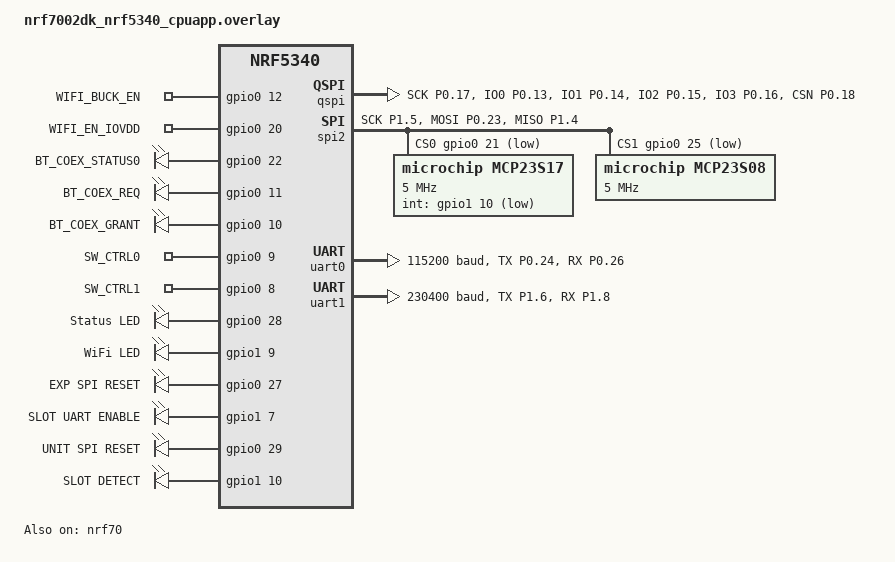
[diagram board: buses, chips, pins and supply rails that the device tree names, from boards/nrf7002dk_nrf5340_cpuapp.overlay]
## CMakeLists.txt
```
# SPDX-License-Identifier: Apache-2.0

cmake_minimum_required(VERSION 3.20.0)

find_package(Zephyr REQUIRED HINTS $ENV{ZEPHYR_BASE})
project(wifi_station)
    target_sources(app PRIVATE
        src/main.c
        src/wifi_power.c
        src/wifi_connect.c
        src/station_gpio.c
        src/station_sdcard.c
        src/https_api.c        
        src/slot_uart.c
    )
set(gen_dir ${CMAKE_CURRENT_BINARY_DIR}/certs)
zephyr_include_directories(${gen_dir})
generate_inc_file_for_target(
    app
    cert/StgNewsedTechiot.pem
    ${gen_dir}/StgNewsedTechiot.pem.inc
    )
target_include_directories(app PRIVATE
    src/
)
```

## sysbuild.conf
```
# sysbuild configuration for nRF7002dk WiFi support
# Based on Nordic's official documentation and samples
SB_CONFIG_WIFI_NRF70=y

# Disable bootloader to prevent duplicate boot messages
SB_CONFIG_BOOTLOADER_MCUBOOT=n
```

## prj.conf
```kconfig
#
# Copyright (c) 2022 Nordic Semiconductor ASA
#
# SPDX-License-Identifier: LicenseRef-Nordic-5-Clause
#
CONFIG_WIFI=y
CONFIG_WIFI_NRF70=y



CONFIG_USE_SEGGER_RTT=n
# Enable both RTT and UART for debugging
CONFIG_RTT_CONSOLE=n
CONFIG_UART_CONSOLE=y
CONFIG_LOG_BACKEND_RTT=n
CONFIG_LOG_BACKEND_UART=n
CONFIG_LOG_BACKEND_SHOW_COLOR=n
CONFIG_CONSOLE=y
CONFIG_SERIAL=y


# WPA supplicant
CONFIG_WIFI_NM_WPA_SUPPLICANT=y
CONFIG_NET_L2_WIFI_SHELL=y
CONFIG_WIFI_READY_LIB=y
CONFIG_NRF_WIFI_RPU_RECOVERY=y
# Networking
CONFIG_NETWORKING=y
CONFIG_NET_SOCKETS=y
CONFIG_NET_LOG=y
CONFIG_NET_IPV6=y
CONFIG_NET_IPV4=y
CONFIG_NET_UDP=y
CONFIG_NET_TCP=y
CONFIG_NET_DHCPV4=y
CONFIG_DNS_RESOLVER=y

CONFIG_NET_STATISTICS=y
CONFIG_NET_STATISTICS_WIFI=y
CONFIG_NET_STATISTICS_USER_API=y

CONFIG_NET_PKT_RX_COUNT=8
CONFIG_NET_PKT_TX_COUNT=8

# Below section is the primary contributor to SRAM and is currently
# tuned for performance, but this will be revisited in the future.
CONFIG_NET_BUF_RX_COUNT=16
CONFIG_NET_BUF_TX_COUNT=16
CONFIG_NRF70_RX_NUM_BUFS=16
CONFIG_NRF70_MAX_TX_AGGREGATION=4
CONFIG_NET_TC_TX_COUNT=1

CONFIG_NET_IF_UNICAST_IPV6_ADDR_COUNT=4
CONFIG_NET_IF_MCAST_IPV6_ADDR_COUNT=5
CONFIG_NET_MAX_CONTEXTS=5
CONFIG_NET_CONTEXT_SYNC_RECV=y

CONFIG_INIT_STACKS=y

CONFIG_NET_L2_ETHERNET=y
CONFIG_NET_SHELL=y

# Zephyr NET Connection Manager Connectivity layer.
CONFIG_NET_CONNECTION_MANAGER=y
CONFIG_L2_WIFI_CONNECTIVITY=y
CONFIG_L2_WIFI_CONNECTIVITY_AUTO_CONNECT=y
CONFIG_L2_WIFI_CONNECTIVITY_AUTO_DOWN=n

# Memories - Increased for WiFi stability at 128MHz
CONFIG_HEAP_MEM_POOL_SIZE=74000
CONFIG_HEAP_MEM_POOL_IGNORE_MIN=y
CONFIG_NRF_WIFI_CTRL_HEAP_SIZE=20000
CONFIG_NRF_WIFI_DATA_HEAP_SIZE=40000

CONFIG_MAIN_STACK_SIZE=8192
CONFIG_SHELL_STACK_SIZE=8192

CONFIG_NET_TX_STACK_SIZE=16384
CONFIG_NET_RX_STACK_SIZE=16384
CONFIG_NET_CONNECTION_MANAGER_MONITOR_STACK_SIZE=8192

# Debugging
CONFIG_STACK_SENTINEL=y
CONFIG_DEBUG_COREDUMP=y
CONFIG_DEBUG_COREDUMP_BACKEND_LOGGING=y
CONFIG_DEBUG_COREDUMP_MEMORY_DUMP_MIN=y
CONFIG_SHELL_CMDS_RESIZE=n
#CONFIG_DEBUG=y
CONFIG_WIFI_NM_WPA_SUPPLICANT_LOG_LEVEL_INF=y

# WiFi driver logging - Set to WRN to reduce log spam

CONFIG_WIFI_NRF70_LOG_LEVEL_WRN=y

# Kernel options
CONFIG_ENTROPY_GENERATOR=y
CONFIG_REBOOT=y
CONFIG_LOG_MODE_DEFERRED=y

# Logging
CONFIG_LOG=y
# 一時y
CONFIG_PRINTK=y
CONFIG_PRINTK_BUFFER_SIZE=4096
CONFIG_LOG_MODE_IMMEDIATE=y 
CONFIG_SHELL=y
CONFIG_SHELL_GETOPT=y
CONFIG_DEVICE_SHELL=y
CONFIG_POSIX_TIMERS=y
CONFIG_DATE_SHELL=y
CONFIG_NET_CONFIG_AUTO_INIT=n
CONFIG_POSIX_API=y
CONFIG_NET_CONFIG_SETTINGS=n
CONFIG_WIFI_CREDENTIALS=y
CONFIG_FLASH=y
CONFIG_FLASH_PAGE_LAYOUT=y
CONFIG_FLASH_MAP=y
CONFIG_NVS=y
CONFIG_SETTINGS=y
CONFIG_SETTINGS_NVS=y
CONFIG_SPI=y
# Mira Station has no external QSPI flash memory
CONFIG_SPI_NOR=n
CONFIG_NRFX_QSPI=y
# QSPI power management - Disable to ensure stable communication with nRF7002 at 128MHz
CONFIG_PM_DEVICE=n
CONFIG_PM_DEVICE_RUNTIME=n

# printing of scan results puts pressure on queues in new locking
# design in net_mgmt. So, use a higher timeout for a crowded
# environment.
CONFIG_NET_MGMT_EVENT_QUEUE_TIMEOUT=5000
CONFIG_NET_SOCKETS_POLL_MAX=12
CONFIG_NET_MGMT_EVENT_QUEUE_SIZE=16
CONFIG_NET_MGMT_EVENT_STACK_SIZE=4096
CONFIG_WIFI_LOG_LEVEL_DBG=y

#CONFIG_WPA_SUPP_STACK_SIZE=8192
CONFIG_SYSTEM_WORKQUEUE_STACK_SIZE=4096
CONFIG_NET_L2_WIFI_MGMT_LOG_LEVEL_DBG=y
CONFIG_BT=n
CONFIG_NRF_TRACE_PORT=n
CONFIG_TRACING=n

# TLS/SSL 関連の設定
CONFIG_NET_SOCKETS_SOCKOPT_TLS=y
CONFIG_MBEDTLS=y
CONFIG_MBEDTLS_BUILTIN=y
CONFIG_MBEDTLS_ENABLE_HEAP=y
CONFIG_MBEDTLS_HEAP_SIZE=60000
CONFIG_MBEDTLS_SSL_MAX_CONTENT_LEN=16384

# 暗号スイートの有効化 (Postman-echo 等のモダンなサーバーに必要)
CONFIG_MBEDTLS_CIPHER_AES_ENABLED=y
CONFIG_MBEDTLS_CHACHAPOLY_C=y
CONFIG_MBEDTLS_RSA_C=y
CONFIG_MBEDTLS_SHA256_C=y
CONFIG_MBEDTLS_PEM_PARSE_C=y

# もしECDSAの証明書なら以下も必要
CONFIG_MBEDTLS_ECDSA_C=y
CONFIG_MBEDTLS_ECP_C=y
CONFIG_MBEDTLS_ECP_DP_SECP256R1_ENABLED=y
CONFIG_MBEDTLS_X509_CRT_PARSE_C=y
CONFIG_MBEDTLS_X509_USE_C=y
CONFIG_MBEDTLS_ECDH_C=y

#CONFIG_GPIO_MCP23S08=y
```

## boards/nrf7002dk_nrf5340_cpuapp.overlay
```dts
/ {
	/* Force UART console for debug output */
	chosen {
		zephyr,console = &uart0;
		zephyr,shell-uart = &uart0;
		zephyr,uart-mcumgr = &uart0;
	};
	
	/* Trace (TPIU) を止めて TRACEDATA/TRACECLK を解放 */



	/* nRF70 TX power configuration for WiFi */
	nrf70_tx_power_ceiling: nrf70_tx_power_ceiling_node {
		status = "okay";
		compatible = "nordic,nrf700x-tx-power-ceiling";
		max-pwr-2g-dsss = <21>;
		max-pwr-2g-mcs0 = <21>;
		max-pwr-2g-mcs7 = <21>;
		max-pwr-5g-low-mcs0 = <21>;
		max-pwr-5g-low-mcs7 = <21>;
		max-pwr-5g-mid-mcs0 = <21>;
		max-pwr-5g-mid-mcs7 = <21>;
		max-pwr-5g-high-mcs0 = <21>;
		max-pwr-5g-high-mcs7 = <21>;
	};
};
/ {
    wifi_ctrl: gpio-leds {
        compatible = "gpio-leds";

        wifi_buck_en: wifi_buck_en {
            gpios = <&gpio0 12 GPIO_ACTIVE_HIGH>;
            label = "WIFI_BUCK_EN";
        };

        wifi_en: wifi_en {
            gpios = <&gpio0 20 GPIO_ACTIVE_HIGH>;
            label = "WIFI_EN_IOVDD";
        };
    };
};


/ {
    user_gpio: user-gpio {
        compatible = "gpio-leds";

        coex_status0: coex_status0 {
            gpios = <&gpio0 22 GPIO_ACTIVE_HIGH>;
            label = "BT_COEX_STATUS0";
        };
		
        coex_req: coex_req {
            gpios = <&gpio0 11 GPIO_ACTIVE_HIGH>;
            label = "BT_COEX_REQ";
        };

        coex_grant: coex_grant {
            gpios = <&gpio0 10 GPIO_ACTIVE_HIGH>;
            label = "BT_COEX_GRANT";
        };

        sw_ctrl0: sw_ctrl0 {
            gpios = <&gpio0 9 GPIO_ACTIVE_HIGH>;
            label = "SW_CTRL0";
        };

        sw_ctrl1: sw_ctrl1 {
            gpios = <&gpio0 8 GPIO_ACTIVE_HIGH>;
            label = "SW_CTRL1";
        };

		
		led_a: led_a {
			gpios = <&gpio0 28 GPIO_ACTIVE_HIGH>;
			label = "Status LED";
		};

		led_b: led_b {
			gpios = <&gpio1 9 GPIO_ACTIVE_HIGH>;
			label = "WiFi LED";
		};
		exp_spi_reset: exp_spi_reset {
			gpios = <&gpio0 27 GPIO_ACTIVE_HIGH>;
			label = "EXP SPI RESET";
		};
		slot_uart_enable: slot_uart_enable {
			gpios = <&gpio1 7 GPIO_ACTIVE_HIGH>;
			label = "SLOT UART ENABLE";
		};
		unit_spi_reset: unit_spi_reset {
			gpios = <&gpio0 29 GPIO_ACTIVE_HIGH>;
			label = "UNIT SPI RESET";
		};

		slot_detect: slot_detect {
			gpios = <&gpio1 10 GPIO_ACTIVE_HIGH>; // Mira StationではLOWアクティブ
			// gpios = <&gpio1 10 GPIO_ACTIVE_LOW>;
			label = "SLOT DETECT";
		};



    };
};


/* WM02C COEX configuration - Override nRF7002DK default with Mira Station pins */

&pinctrl {
	/* 自分で使うGPIO用の定義 */

	qspi_default: qspi_default {
		group1 {
			psels = <NRF_PSEL(QSPI_SCK, 0, 17)>,
				<NRF_PSEL(QSPI_IO0, 0, 13)>,
				<NRF_PSEL(QSPI_IO1, 0, 14)>,
				<NRF_PSEL(QSPI_IO2, 0, 15)>,
				<NRF_PSEL(QSPI_IO3, 0, 16)>,
				<NRF_PSEL(QSPI_CSN, 0, 18)>;
			nordic,drive-mode = <NRF_DRIVE_H0H1>;
		};
	};

	qspi_sleep: qspi_sleep {
		group1 {
			psels = <NRF_PSEL(QSPI_SCK, 0, 17)>,
				<NRF_PSEL(QSPI_IO0, 0, 13)>,
				<NRF_PSEL(QSPI_IO1, 0, 14)>,
				<NRF_PSEL(QSPI_IO2, 0, 15)>,
				<NRF_PSEL(QSPI_IO3, 0, 16)>;
			low-power-enable;
		};
		group2 {
			psels = <NRF_PSEL(QSPI_CSN, 0, 18)>;
			low-power-enable;
			bias-pull-up;
		};
	};

	spi2_default: spi2_default {
        group1 {
            psels = <NRF_PSEL(SPIM_SCK, 1, 5)>,
                    <NRF_PSEL(SPIM_MOSI, 0, 23)>,
                    <NRF_PSEL(SPIM_MISO, 1, 4)>;
        };
    };

    spi2_sleep: spi2_sleep {
        group1 {
            psels = <NRF_PSEL(SPIM_SCK, 1, 5)>,
                    <NRF_PSEL(SPIM_MOSI, 0, 23)>,
                    <NRF_PSEL(SPIM_MISO, 1, 4)>;
            low-power-enable;
        };
    };
	
};

&nrf70 {
    status = "okay";
    //bucken-gpios = <&gpio0 12 GPIO_ACTIVE_HIGH>;
    //iovdd-ctrl-gpios = <&gpio0 20 GPIO_ACTIVE_HIGH>;
    host-irq-gpios = <&gpio0 19 GPIO_ACTIVE_HIGH>; // まずは元に戻す 
	qspi-frequency = <8000000>;
	
};

&qspi {
	status = "okay";
	pinctrl-0 = <&qspi_default>;
	pinctrl-1 = <&qspi_sleep>;
	pinctrl-names = "default", "sleep";	
};

&spi2 {
    status = "okay";
    pinctrl-0 = <&spi2_default>;
    pinctrl-1 = <&spi2_sleep>;
    pinctrl-names = "default", "sleep";

	cs-gpios =
        <&gpio0 21 GPIO_ACTIVE_LOW>, /* CS0: MCP23S17 */
        <&gpio0 25 GPIO_ACTIVE_LOW>; /* CS1: MCP23S08 */



    /* MCP23S17 : 16bit GPIO */
    mcp23s17: gpio@0 {
        compatible = "microchip,mcp23s17";
        reg = <0>;                  /* cs-gpios の0番 */
        spi-max-frequency = <5000000>;
        status = "okay";

        gpio-controller;
        #gpio-cells = <2>;
        ngpios = <16>;
        
        /* 割り込みピン設定 */
        int-gpios = <&gpio1 10 GPIO_ACTIVE_LOW>;
    };

    /* MCP23S08 : 8bit GPIO */
    mcp23s08: gpio@1 {
        compatible = "microchip,mcp23s08";
        reg = <1>;                  /* cs-gpios の1番 */
        spi-max-frequency = <5000000>;
        status = "okay";

        gpio-controller;
        #gpio-cells = <2>;
        ngpios = <8>;
    
    };
};


/* Mira Station UART0 configuration - Custom pins P0.24/P0.26 */
&pinctrl {
	uart0_mira_default: uart0_mira_default {
		group1 {
			psels = <NRF_PSEL(UART_TX, 0, 24)>,
				<NRF_PSEL(UART_RX, 0, 26)>;
		};
	};

	uart0_mira_sleep: uart0_mira_sleep {
		group1 {
			psels = <NRF_PSEL(UART_TX, 0, 24)>,
				<NRF_PSEL(UART_RX, 0, 26)>;
			low-power-enable;
		};
	};
};

&uart0 {
	status = "okay";
	current-speed = <115200>;
	/* Use Mira Station specific pinctrl */
	pinctrl-0 = <&uart0_mira_default>;
	pinctrl-1 = <&uart0_mira_sleep>;
	pinctrl-names = "default", "sleep";
};

/*  Station UART1 configuration - Custom pins P1.06/P1.08 */
&pinctrl {
	uart1_slot_default: uart1_slot_default {
		group1 {
			psels = <NRF_PSEL(UART_TX, 1, 6)>,
				<NRF_PSEL(UART_RX, 1, 8)>;
		};
	};

	uart1_slot_sleep: uart1_slot_sleep {
		group1 {
			psels = <NRF_PSEL(UART_TX, 1, 6)>,
				<NRF_PSEL(UART_RX, 1, 8)>;
			low-power-enable;
		};
	};
};

&uart1 {
	status = "okay";
	current-speed = <230400>;
	/* Use Mira Station specific pinctrl */
	pinctrl-0 = <&uart1_slot_default>;
	pinctrl-1 = <&uart1_slot_sleep>;
	pinctrl-names = "default", "sleep";
};
&gpio0 {
    status = "okay";
};
```

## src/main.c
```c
#include "wifi_connect.h"
#include "common.h"
#include "station_gpio.h"
#include "station_sdcard.h"
#include "slot_uart.h"
#include <zephyr/logging/log.h>
LOG_MODULE_REGISTER(sta, CONFIG_LOG_DEFAULT_LEVEL);




sd_data_t sd_data;
sys_data_t sys_data;

K_THREAD_DEFINE(uart_tid, 1024,slot_uart_thread,NULL, NULL, NULL,5, 0, 0);

/**
 * @brief アプリケーションのエントリーポイント
 *
 * システム起動後に最初に呼ばれる関数。
 * 本関数では、ステーション動作に必要な各種初期化処理のみを行う。
 *
 * 処理内容:
 *  1. GPIO 初期化
 *     - LED / 制御ピンなど、ボード依存GPIOの設定を行う
 *
 *  2. SDカード初期化
 *     - 設定データやログ保存に使用するSDカードを初期化する
 *     - 初期化結果は common.h で定義された sd_data 構造体に反映される
 *
 *  3. Wi-Fi 初期化
 *     - Wi-Fi ドライバおよびネットワークスタックを初期化し、
 *       アクセスポイントへの接続処理を開始する
 *
 * 本関数ではメインループやタスク生成は行わず、
 * 各機能の初期化後は処理を終了する。
 *
 * @return int
 *         常に 0 を返す（初期化エラーは各初期化関数内でログ出力される想定）
 */

int main(void)
{
    int ret = 0;

    init_gpio();

    init_sd_card();

    init_wifi();
    
    //uart test デバイス名称取得 start
    while(1){
        slot_puts("DEVICENAME\r");
         k_msleep(5000);      
    }
     //uart test デバイス名称取得 end
    return ret;
}
```

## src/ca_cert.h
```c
#pragma once

static const char ca_cert_isrg_root_x1[] =
"-----BEGIN CERTIFICATE-----\n"
"MIIEVjCCAj6gAwIBAgIQY5WTY8JOcIJxWRi/w9ftVjANBgkqhkiG9w0BAQsFADBP\n"
"MQswCQYDVQQGEwJVUzEpMCcGA1UEChMgSW50ZXJuZXQgU2VjdXJpdHkgUmVzZWFy\n"
"Y2ggR3JvdXAxFTATBgNVBAMTDElTUkcgUm9vdCBYMTAeFw0yNDAzMTMwMDAwMDBa\n"
"Fw0yNzAzMTIyMzU5NTlaMDIxCzAJBgNVBAYTAlVTMRYwFAYDVQQKEw1MZXQncyBF\n"
"bmNyeXB0MQswCQYDVQQDEwJFODB2MBAGByqGSM49AgEGBSuBBAAiA2IABNFl8l7c\n"
"S7QMApzSsvru6WyrOq44ofTUOTIzxULUzDMMNMchIJBwXOhiLxxxs0LXeb5GDcHb\n"
"R6EToMffgSZjO9SNHfY9gjMy9vQr5/WWOrQTZxh7az6NSNnq3u2ubT6HTKOB+DCB\n"
"9TAOBgNVHQ8BAf8EBAMCAYYwHQYDVR0lBBYwFAYIKwYBBQUHAwIGCCsGAQUFBwMB\n"
"MBIGA1UdEwEB/wQIMAYBAf8CAQAwHQYDVR0OBBYEFI8NE6L2Ln7RUGwzGDhdWY4j\n"
"cpHKMB8GA1UdIwQYMBaAFHm0WeZ7tuXkAXOACIjIGlj26ZtuMDIGCCsGAQUFBwEB\n"
"BCYwJDAiBggrBgEFBQcwAoYWaHR0cDovL3gxLmkubGVuY3Iub3JnLzATBgNVHSAE\n"
"DDAKMAgGBmeBDAECATAnBgNVHR8EIDAeMBygGqAYhhZodHRwOi8veDEuYy5sZW5j\n"
"ci5vcmcvMA0GCSqGSIb3DQEBCwUAA4ICAQBnE0hGINKsCYWi0Xx1ygxD5qihEjZ0\n"
"RI3tTZz1wuATH3ZwYPIp97kWEayanD1j0cDhIYzy4CkDo2jB8D5t0a6zZWzlr98d\n"
"AQFNh8uKJkIHdLShy+nUyeZxc5bNeMp1Lu0gSzE4McqfmNMvIpeiwWSYO9w82Ob8\n"
"otvXcO2JUYi3svHIWRm3+707DUbL51XMcY2iZdlCq4Wa9nbuk3WTU4gr6LY8MzVA\n"
"aDQG2+4U3eJ6qUF10bBnR1uuVyDYs9RhrwucRVnfuDj29CMLTsplM5f5wSV5hUpm\n"
"Uwp/vV7M4w4aGunt74koX71n4EdagCsL/Yk5+mAQU0+tue0JOfAV/R6t1k+Xk9s2\n"
"HMQFeoxppfzAVC04FdG9M+AC2JWxmFSt6BCuh3CEey3fE52Qrj9YM75rtvIjsm/1\n"
"Hl+u//Wqxnu1ZQ4jpa+VpuZiGOlWrqSP9eogdOhCGisnyewWJwRQOqK16wiGyZeR\n"
"xs/Bekw65vwSIaVkBruPiTfMOo0Zh4gVa8/qJgMbJbyrwwG97z/PRgmLKCDl8z3d\n"
"tA0Z7qq7fta0Gl24uyuB05dqI5J1LvAzKuWdIjT1tP8qCoxSE/xpix8hX2dt3h+/\n"
"jujUgFPFZ0EVZ0xSyBNRF3MboGZnYXFUxpNjTWPKpagDHJQmqrAcDmWJnMsFY3jS\n"
"u1igv3OefnWjSQ==\n"
"-----END CERTIFICATE-----\n";
```

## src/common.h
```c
#include <stdint.h> 
#include <stdio.h>
typedef struct {
    char mcm_iot_hostname[256]; //APIホストサーバー
    char endpoint_url[5][64]; //エンドポイントURL
    char mcm_login_id[128];
    char mcm_login_passwd[128];
    char wifi_ssid[64];
    char wifi_passwd[128];
    uint8_t wifi_authentication; //WiFi認証方式
} sd_data_t;

typedef struct {
    char token[512]; //トークン   
} sys_data_t;



#define     HIGT            1
#define     LOW             0
#define     MCP23S08_GP0    0
#define     MCP23S08_GP1    1
#define     MCP23S08_GP2    2
#define     HTTPS_PORT      "443"
#define     CA_CERT_TAG     1

#define SLOT_IN_0   (1 << 0)
#define SLOT_IN_1   (1 << 1)
#define SLOT_IN_2   (1 << 2)
#define SLOT_IN_3   (1 << 3)
#define SLOT_IN_4   (1 << 4)
#define SLOT_IN_5   (1 << 5)
#define SLOT_IN_6   (1 << 6)
#define SLOT_IN_7   (1 << 7)
```

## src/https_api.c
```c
#include <zephyr/sys/printk.h>
#include <string.h>
#include <zephyr/net/socket.h>
#include <zephyr/net/tls_credentials.h>
#include "common.h"
#include <zephyr/logging/log.h>
LOG_MODULE_REGISTER(https_api, LOG_LEVEL_INF);

extern sd_data_t sd_data;
extern sys_data_t sys_data;


static const char cert[] = {
#include "StgNewsedTechiot.pem.inc"

	/* Null terminate certificate if running Mbed TLS on the application core.
	 * Required by TLS credentials API.
	 */
	IF_ENABLED(CONFIG_TLS_CREDENTIALS, (0x00))};

/**
 * @brief アクセストークンを取得するための関数（未実装）
 *
 * IoT サーバやクラウド API へアクセスするための
 * アクセストークン（OAuth 等）を取得する処理を想定。
 *
 * 現在は未実装で、将来的に HTTPS 経由で
 * トークン取得 API を呼び出す想定。
 */
void get_access_token(void)
{
	strcpy(sys_data.token, "eyJhbGciOiJIUzI1NiJ9.eyJpc3MiOiJodHRwczovL2FwaS5zdGctbmV3c2VkdGVjaC1pb3Qub25taXJhLmNsb3VkLyIsInN1YiI6ImFjY2VzcyIsImF1ZCI6InN0Zl9VV2Y5OFhFSWd1YVNMOCIsImp0aSI6IjI0NTk2YjRlLWM0ZGUtNGZlZi04NzU0LTE5ODIzYzQ0OGFkNyIsImlhdCI6MTczNDMzNTM5NH0.D22HW9P4Hsvjdy7oMgcxFi3215R89Q4fkVxfJt4ERko");
}

/**
 * @brief CA 証明書を Zephyr TLS Credential ストアへ登録する
 *
 * DigiCertGlobalG3.pem.inc から取り込んだ CA 証明書を
 * tls_credential_add() を使って TLS スタックへ登録する。
 *
 * HTTPS 通信を行う前に必ず一度は呼び出す必要がある。
 *
 * @return 0       成功
 * @return <0      エラー（TLS Credential 登録失敗）
 */
int cert_provision(void)
{
	return tls_credential_add(
		CA_CERT_TAG,
		TLS_CREDENTIAL_CA_CERTIFICATE,
		cert,
		sizeof(cert));
}
/**
 * @brief HTTPS (TLS) 経由で JSON データを POST 送信する
 *
 * - CA 証明書を登録
 * - DNS 名前解決
 * - TLS ソケット作成（TLS1.2）
 * - SNI / CA 証明書を設定
 * - HTTPS サーバへ接続
 * - JSON データを HTTP POST で送信
 * - レスポンスを受信してログ出力
 *
 * sd_data に設定されたホスト名・エンドポイントを使用する。
 *
 * @return 0       成功
 * @return <0      エラー
 */
int https_post_json(void)
{
	printk(".....https_post_json......\n");
	cert_provision();

	int sock = -1;
	int ret;

	struct addrinfo hints = {
		.ai_family = AF_INET,
		.ai_socktype = SOCK_STREAM,
	};
	struct addrinfo *res = NULL;

	/* HTTPSは443番 */
	ret = getaddrinfo(sd_data.mcm_iot_hostname, HTTPS_PORT, &hints, &res);
	if (ret || res == NULL)
	{
		printk("getaddrinfo failed: %d\n", ret);
		return ret ? ret : -EINVAL;
	}

	/* TCPソケット */
	sock = socket(res->ai_family, SOCK_STREAM, IPPROTO_TLS_1_2);
	if (sock < 0)
	{
		printk("socket failed: %d\n", -errno);
		freeaddrinfo(res);
		return -errno;
	}
	/* ★CA証明書タグをソケットに設定（必須） */
	sec_tag_t sec_tag_list[] = {CA_CERT_TAG};
	ret = setsockopt(sock, SOL_TLS, TLS_SEC_TAG_LIST,
					 sec_tag_list, sizeof(sec_tag_list));
	if (ret < 0)
	{
		printk("TLS_SEC_TAG_LIST failed: %d\n", -errno);
		if (res)
			freeaddrinfo(res);
		if (sock >= 0)
			close(sock);
		printk("### done ret=%d ###\n", ret);
		return ret;
	}
	/* ★SNI/証明書検証用 hostname（必須級） */
	ret = setsockopt(sock, SOL_TLS, TLS_HOSTNAME, sd_data.mcm_iot_hostname, sizeof(sd_data.mcm_iot_hostname) - 1);
	if (ret < 0)
	{
		printk("TLS_HOSTNAME failed: %d\n", -errno);
		if (res)
			freeaddrinfo(res);
		if (sock >= 0)
			close(sock);
		printk("### done ret=%d ###\n", ret);
		return ret;
	}

	/* connect */
	ret = connect(sock, res->ai_addr, res->ai_addrlen);
	freeaddrinfo(res);
	res = NULL;

	if (ret < 0)
	{
		printk("connect failed: %d\n", -errno);
		close(sock);
		return -errno;
	}

	/*
	curl https://api.stg-newsedtech-iot.onmira.cloud/temperatures/ \
  --request POST \
  --header 'Content-Type: application/json' \
  --header 'Authorization: Bearer eyJhbGciOiJIUzI1NiJ9.eyJpc3MiOiJodHRwczovL2FwaS5zdGctbmV3c2VkdGVjaC1pb3Qub25taXJhLmNsb3VkLyIsInN1YiI6ImFjY2VzcyIsImF1ZCI6InN0Zl9VV2Y5OFhFSWd1YVNMOCIsImp0aSI6IjI0NTk2YjRlLWM0ZGUtNGZlZi04NzU0LTE5ODIzYzQ0OGFkNyIsImlhdCI6MTczNDMzNTM5NH0.D22HW9P4Hsvjdy7oMgcxFi3215R89Q4fkVxfJt4ERko' \
  --data '{
  "sensor_id": "ssr_V6lVcrtQQnXE2P",
  "event": "high",
  "time": 1767007422,
  "temperature": 60.5,
  "threshold": 60.3
}'


	*/

	const char json[] = "{\"sensor_id\":\"ssr_V6lVcrtQQnXE2P\",\"event\":\"high\",\"time\":1767007422,\"temperature\":60.5,\"threshold\":60.3}";

	char req[1024];

	int req_len = snprintf(req, sizeof(req),
						   "POST %s HTTP/1.1\r\n"
						   "Host: %s\r\n"
						   "User-Agent: zephyr\r\n"
						   "Authorization: Bearer %s\r\n"
						   "Content-Type: application/json\r\n"
						   "Content-Length: %d\r\n"
						   "Connection: close\r\n"
						   "\r\n"
						   "%s",
						   sd_data.endpoint_url[0],
						   sd_data.mcm_iot_hostname,
						   sys_data.token,
						   (int)strlen(json), json);
			

	if (req_len <= 0 || req_len >= (int)sizeof(req))
	{
		printk("snprintf overflow\n");
		close(sock);
		return -ENOMEM;
	}

	
	ssize_t sent = send(sock, req, req_len, 0);
	if (sent < 0)
	{
		int e = errno;
		printk("send() failed: %d\n", -e);
		close(sock);
		return -e;
	}
	char buf[1024];
	int len;

	while ((len = recv(sock, buf, sizeof(buf) - 1, 0)) > 0)
	{
		buf[len] = '\0';
		printk("%s", buf);
	}

	if (len < 0)
	{
		printk("recv() failed: %d\n", -errno);
	}

	close(sock);
	printk("### done ###\n");
	return 0;
}
/**
 * @brief HTTP（非TLS）で JSON データを POST 送信する
 *
 * TLS を使用しない平文 HTTP 通信のサンプル。
 * postman-echo.com に対して JSON を POST し、
 * レスポンスをログへ表示する。
 *
 * 動作確認やデバッグ用途向け。
 *
 * @return 0       成功
 * @return <0      エラー
 */
int http_post_json(void)
{
	printk("### http_post_json ###\n");

	int sock = -1;
	int ret;

	struct addrinfo hints = {
		.ai_family = AF_INET,
		.ai_socktype = SOCK_STREAM,
	};
	struct addrinfo *res = NULL;

	/* HTTPは80番 */
	ret = getaddrinfo("postman-echo.com", "80", &hints, &res);
	if (ret || res == NULL)
	{
		printk("getaddrinfo failed: %d\n", ret);
		return ret ? ret : -EINVAL;
	}

	/* TCPソケット */
	sock = socket(res->ai_family, SOCK_STREAM, IPPROTO_TCP);
	if (sock < 0)
	{
		printk("socket failed: %d\n", -errno);
		freeaddrinfo(res);
		return -errno;
	}

	/* connect */
	ret = connect(sock, res->ai_addr, res->ai_addrlen);
	freeaddrinfo(res);
	res = NULL;

	if (ret < 0)
	{
		printk("connect failed: %d\n", -errno);
		close(sock);
		return -errno;
	}

	const char json[] = "{\"device\":\"nrf5340\",\"value\":123}";

	char req[512];
	int req_len = snprintf(req, sizeof(req),
						   "POST /post HTTP/1.1\r\n"
						   "Host: postman-echo.com\r\n"
						   "User-Agent: zephyr\r\n"
						   "Content-Type: application/json\r\n"
						   "Content-Length: %d\r\n"
						   "Connection: close\r\n"
						   "\r\n"
						   "%s",
						   (int)strlen(json), json);

	if (req_len <= 0 || req_len >= (int)sizeof(req))
	{
		printk("snprintf overflow\n");
		close(sock);
		return -ENOMEM;
	}

	printk("### send ###\n");
	ssize_t sent = send(sock, req, req_len, 0);
	if (sent < 0)
	{
		int e = errno;
		printk("send() failed: %d\n", -e);
		close(sock);
		return -e;
	}
	printk("sent=%d\n", (int)sent);

	printk("### recv ###\n");
	char buf[1024];
	int len;

	while ((len = recv(sock, buf, sizeof(buf) - 1, 0)) > 0)
	{
		buf[len] = '\0';
		printk("%s", buf);
	}

	if (len < 0)
	{
		printk("recv() failed: %d\n", -errno);
	}

	close(sock);
	printk("### done ###\n");
	return 0;
}
```

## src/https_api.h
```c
/*
 * WiFi  Header for Mira Station
 */

#ifndef HTTPS_API_H
#define HTTPS_API_H


void send_post_request(int sock);
int https_post_json(void);
int http_post_json(void);
void get_access_token(void);
#endif
```

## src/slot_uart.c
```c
#include <zephyr/kernel.h>
#include <zephyr/device.h>
#include <zephyr/drivers/uart.h>
#include <zephyr/sys/ring_buffer.h>
#include <zephyr/sys/util.h>

#define RX_RING_SIZE 512
#define LINE_MAX     128

static const struct device *uart_slot = DEVICE_DT_GET(DT_NODELABEL(uart1));

RING_BUF_DECLARE(rx_ring, RX_RING_SIZE);
K_SEM_DEFINE(rx_sem, 0, 1);

void slot_puts(const char *s)
{
    while (*s) {
        uart_poll_out(uart_slot, (unsigned char)*s++);
    }
}

/* UART IRQ: 受信したbyteをring bufferへ */
static void uart1_cb(const struct device *dev, void *user_data)
{
    ARG_UNUSED(user_data);

    while (uart_irq_update(dev) && uart_irq_is_pending(dev)) {
        if (uart_irq_rx_ready(dev)) {
            uint8_t tmp[32];
            int n = uart_fifo_read(dev, tmp, sizeof(tmp));
            if (n > 0) {
                /* ringに詰める（溢れた分は捨てる） */
                uint32_t wrote = ring_buf_put(&rx_ring, tmp, (uint32_t)n);
                (void)wrote;
                k_sem_give(&rx_sem);
            }
        }
    }
}

/* 監視スレッド：ringから取り出して、行単位で表示 */
void slot_uart_thread(void)
{
    if (!device_is_ready(uart_slot)) {
        printk("*** uart1 not ready ***\n");
        return;
    }

    uart_irq_callback_user_data_set(uart_slot, uart1_cb, NULL);
    uart_irq_rx_enable(uart_slot);

    printk("*** uart1 monitor start ***\n");

    char line[LINE_MAX];
    int  line_len = 0;

    while (1) {
        /* 受信が来るまで待つ（常時監視） */
        k_sem_take(&rx_sem, K_FOREVER);

        /* ringに溜まってる分を全部吐き出す */
        uint8_t c;
        while (ring_buf_get(&rx_ring, &c, 1) == 1) {

            /* CR/LFで1行確定 */
            if (c == '\r' || c == '\n') {
                if (line_len > 0) {
                    line[line_len] = '\0';
                    printk("SLOT RX: %s\n", line);
                    line_len = 0;
                }
                continue;
            }

            /* 行バッファに追加（溢れたら強制確定） */
            if (line_len < (LINE_MAX - 1)) {
                line[line_len++] = (char)c;
            } else {
                line[line_len] = '\0';
                printk("UART1 RX (trunc): %s\n", line);
                line_len = 0;
            }
        }
    }
}
```

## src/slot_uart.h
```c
#ifndef SLOT_UART_H
#define SLOT_UART_H

void slot_uart_thread(void);
void slot_puts(const char *s);
#endif
```

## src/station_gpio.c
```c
#include <zephyr/drivers/gpio.h>
#include "station_gpio.h"
#include "common.h"
#include <zephyr/logging/log.h>
LOG_MODULE_REGISTER(station_gpio, LOG_LEVEL_INF);

const struct gpio_dt_spec coex_status0 =
    GPIO_DT_SPEC_GET(DT_NODELABEL(coex_status0), gpios);

const struct gpio_dt_spec coex_req =
    GPIO_DT_SPEC_GET(DT_NODELABEL(coex_req), gpios);

const struct gpio_dt_spec coex_grant =
    GPIO_DT_SPEC_GET(DT_NODELABEL(coex_grant), gpios);

const struct gpio_dt_spec sw_ctrl0 =
    GPIO_DT_SPEC_GET(DT_NODELABEL(sw_ctrl0), gpios);

const struct gpio_dt_spec sw_ctrl1 =
    GPIO_DT_SPEC_GET(DT_NODELABEL(sw_ctrl1), gpios);

const struct gpio_dt_spec led_a =
    GPIO_DT_SPEC_GET(DT_NODELABEL(led_a), gpios);
const struct gpio_dt_spec led_b =
    GPIO_DT_SPEC_GET(DT_NODELABEL(led_b), gpios);

const struct gpio_dt_spec exp_spi_reset =
    GPIO_DT_SPEC_GET(DT_NODELABEL(exp_spi_reset), gpios);

const struct gpio_dt_spec unit_spi_reset =
    GPIO_DT_SPEC_GET(DT_NODELABEL(unit_spi_reset), gpios);

const struct gpio_dt_spec slot_uart_enable =
    GPIO_DT_SPEC_GET(DT_NODELABEL(slot_uart_enable), gpios); // UART 通信有効・無効

const struct gpio_dt_spec slot_detect =
    GPIO_DT_SPEC_GET(DT_NODELABEL(slot_detect), gpios); // SLOT 挿入検出用

/* SPI接続GPIOエキスパンダ
 * - mcp17: スロット検出・電源制御（MCP23S17：16bit）
 * - mcp08: UART切替SEL制御（MCP23S08：8bit）
 */
const struct device *mcp17 = DEVICE_DT_GET(DT_NODELABEL(mcp23s17)); // slot 制御用
const struct device *mcp08 = DEVICE_DT_GET(DT_NODELABEL(mcp23s08)); // UART制御用

static struct gpio_callback mcp_cb;

/* 割り込み処理用のワーク（チャタリング対策で遅延実行） */
static struct k_work_delayable gpio_isr_work;

uint8_t slot_state = 0;

void print_u8_bin(uint8_t v);

void print_u8_bin(uint8_t v)
{
    printk("\n*** print_u8_bin ***\n");
    for (int i = 7; i >= 0; i--)
    {
        printk("%d", (v >> i) & 1);
    }
    printk("\n");
}

/**
 * @brief 割り込みハンドラから呼ばれるワーク関数
 *
 * 割り込みコンテキスト外でGPIOを読み取る
 */
static void gpio_isr_work_handler(struct k_work *work)
{
    printk("\n*** GPIO interrupt work handler ***\n");

    for (int in_pin = 0; in_pin < 8; in_pin++)
    {
        int v = gpio_pin_get(mcp17, in_pin); /* GPA0..7 */

        if (v < 0)
        {
            printk("mcp17 read error pin%d: %d\n", in_pin, v);
            continue;
        }
        if (v == LOW)
        {
            printk("Insert the card into slot %d\n", in_pin);
            gpio_pin_set(mcp17, in_pin + 8, HIGT); // カード充電電源ON
            set_enable_slot_uart(in_pin);
            slot_state |= (1U << in_pin);
        }
        else
        {
            printk("No card in slot %d\n", in_pin);
            gpio_pin_set(mcp17, in_pin + 8, LOW); // カード充電電源OFF
            slot_state &= ~(1U << in_pin);        // 0にする
        }
    }

    /* 処理完了後、MCP23S17の全ピン割り込みを再有効化 */
    for (int pin = 0; pin < 8; pin++)
    {
        gpio_pin_interrupt_configure(mcp17, pin, GPIO_INT_EDGE_BOTH);
    }
    if(slot_state==0x00){ //どのスロットにもカード刺してない場合、通信無効設定
        set_enable_slot_uart(0xff);
    }
    //print_u8_bin(slot_state);

    //printk("Interrupts re-enabled\n");
}

/**
 * @brief MCP23S17 のGPIO入力変化（スロット挿入検出）を処理する割り込みハンドラ
 *
 * MCP23S17 側の入力ピン（想定：GPA0～GPA7）が変化したときに呼ばれ、
 * 対応するスロットの電源制御出力（想定：GPB0～GPB7 = ピン8～15）をON/OFFします。
 *
 * - pins には「どのピンが割り込み要因か」を示すビットマスクが渡る想定です。
 *   ※Zephyrのgpioコールバック仕様では pins はビットマスクで来るため、
 *   本実装の pins==0/1/2... 判定は将来的に BIT(n) 判定へ変更推奨です。
 *
 * @param dev  割り込み元GPIOデバイス（未使用）
 * @param cb   登録したコールバック（未使用）
 * @param pins 変化したピンのビットマスク（例：BIT(0) がGPA0）
 */
void mcp23s17_isr(const struct device *dev,
                  struct gpio_callback *cb,
                  uint32_t pins)
{
    ARG_UNUSED(dev);
    ARG_UNUSED(cb);
    ARG_UNUSED(pins);

    /* チャタリング対策：変化したピンの割り込みを無効化 */
    for (int pin = 0; pin < 8; pin++)
    {
        if (pins & BIT(pin))
        {
            gpio_pin_interrupt_configure(dev, pin, GPIO_INT_DISABLE);
        }
    }

    /* 500ms後にワークを実行（割り込み再有効化含む） */
    k_work_reschedule(&gpio_isr_work, K_MSEC(500));
}
/**
 * @brief Station基板のGPIO初期化（SoC直結GPIO + MCP23S17/MCP23S08 の初期化）
 *
 * この関数は以下を行います：
 * 1) WM02C/COEX関連GPIOの方向設定（req/status0出力、grant入力）
 * 2) スイッチ入力（sw_ctrl0/sw_ctrl1）設定
 * 3) LED（led_a/led_b）を出力として初期化
 * 4) MCP23S17/MCP23S08のRESET（または有効化）信号を有効化し、通信可能になるまで待機
 * 5) MCP23S08：UART切替用SELピン（0～2）を出力に設定
 * 6) MCP23S17：スロット検出入力（0～7）を入力＋割り込み有効、電源制御出力（8～15）を出力に設定
 * 7) 初期状態として各種出力をOFF、必要に応じてテスト設定でON
 *
 * 注意：
 * - MCPの通信有効化後に待ち時間(k_msleep)を入れているのは、
 *   リセット解除直後の安定化およびSPIバス立ち上がりのためです。
 */
void init_gpio()
{
    printk("### init_gpio start ###\n");

    int ret;
    // WM02C モジュール
    gpio_pin_configure_dt(&coex_req, GPIO_OUTPUT_INACTIVE);
    gpio_pin_configure_dt(&coex_status0, GPIO_OUTPUT_INACTIVE);

    gpio_pin_configure_dt(&coex_grant, GPIO_INPUT);

    gpio_pin_configure_dt(&sw_ctrl0, GPIO_INPUT);

    gpio_pin_configure_dt(&sw_ctrl1, GPIO_INPUT);

    // LED 制御
    gpio_pin_configure_dt(&led_a, GPIO_OUTPUT_INACTIVE);
    gpio_pin_configure_dt(&led_b, GPIO_OUTPUT_INACTIVE);

    // SPI制御
    gpio_pin_configure_dt(&exp_spi_reset, GPIO_OUTPUT_INACTIVE);  // シリアル通信切り替え用
    gpio_pin_configure_dt(&unit_spi_reset, GPIO_OUTPUT_INACTIVE); // スロット検出・電源制御用

    // uart制御
    gpio_pin_configure_dt(&slot_uart_enable, GPIO_OUTPUT_INACTIVE);

    gpio_pin_set_dt(&exp_spi_reset, HIGT);  // uart 通信有効
    gpio_pin_set_dt(&unit_spi_reset, HIGT); // slot SPI通信有効
    k_msleep(1);                            // MCP23S08T通信有効後、待ち時間必須

    // MCP23S08T初期化(出力設定)
    gpio_pin_configure(mcp08, MCP23S08_GP0, GPIO_OUTPUT);
    gpio_pin_configure(mcp08, MCP23S08_GP1, GPIO_OUTPUT);
    gpio_pin_configure(mcp08, MCP23S08_GP2, GPIO_OUTPUT);

    // MCP23S17T初期化
    // スロット挿入検出(入力設定)

    printk("Configuring MCP23S17 pins and interrupts...\n");
    for (int pin = 0; pin < 8; pin++)
    {
        gpio_pin_configure(mcp17, pin, GPIO_INPUT | GPIO_PULL_UP);
        ret = gpio_pin_interrupt_configure(mcp17, pin, GPIO_INT_EDGE_BOTH);
        if (ret != 0)
        {
            printk("Failed to configure interrupt for pin %d: %d\n", pin, ret);
        }
    }

    /* MCP23S17のピンに直接コールバック登録（全ピン0-7） */
    gpio_init_callback(&mcp_cb, mcp23s17_isr, 0xFF); /* 下位8ビット全て */
    ret = gpio_add_callback(mcp17, &mcp_cb);
    if (ret != 0)
    {
        printk("Failed to add callback: %d\n", ret);
        return;
    }

    printk("MCP23S17 interrupt initialized on device %p\n", mcp17);

    // 初期状態確認
    printk("=== MCP23S17 GPA0-7 Initial Status ===\n");

    // 電源制御(出力設定)
    /* GPB0..7 を出力に（電源制御など） */
    for (int pin = 8; pin < 16; pin++)
    {
        gpio_pin_configure(mcp17, pin, GPIO_OUTPUT_INACTIVE);
        gpio_pin_set(mcp17, pin, LOW); // 全て電源出力OFF設定
    }

    for (int pin = 0; pin < 8; pin++)
    {
        int val = gpio_pin_get(mcp17, pin);
        printk("GPA%d: %d\n", pin, val);
        if (val == LOW)
        {
            slot_state |= (1U << pin);
            gpio_pin_set(mcp17, pin + 8, HIGT); // UART電源設定 ON
        }
        else
        {
            slot_state &= ~(1U << pin);        // 0にする
            gpio_pin_set(mcp17, pin + 8, LOW); // UART電源設定 OFF
        }
       
    }

    if (slot_state & SLOT_IN_0)
    {
        set_enable_slot_uart(0);
    }
    else if (slot_state & SLOT_IN_1)
    {
        set_enable_slot_uart(1);
    }
    else if (slot_state & SLOT_IN_2)
    {
        set_enable_slot_uart(2);
    }
    else if (slot_state & SLOT_IN_3)
    {
        set_enable_slot_uart(3);
    }
    else if (slot_state & SLOT_IN_4)
    {
        set_enable_slot_uart(4);
    }
    else if (slot_state & SLOT_IN_5)
    {
        set_enable_slot_uart(5);
    }
    else if (slot_state & SLOT_IN_6)
    {
        set_enable_slot_uart(6);
    }
    else if (slot_state & SLOT_IN_7)
    {
        set_enable_slot_uart(7);
    }else{ //どのスロットにもカード刺してない場合、通信無効設定
        set_enable_slot_uart(0xff);
    }

    //print_u8_bin(slot_state);

    gpio_pin_set_dt(&coex_req, LOW);
    gpio_pin_set_dt(&coex_status0, LOW);

    gpio_pin_set_dt(&led_a, LOW);
    gpio_pin_set_dt(&led_b, LOW);

  
    // 割り込み処理用ワークの初期化（遅延実行可能）
    k_work_init_delayable(&gpio_isr_work, gpio_isr_work_handler);
}
/**
 * @brief Status LED(A) を点灯する
 *
 * led_a を High にして点灯します（Active High前提）。
 */
void led_a_lights_up(void)
{
    gpio_pin_set_dt(&led_a, HIGT);
}
/**
 * @brief Status LED(A) を消灯する
 *
 * led_a を Low にして消灯します（Active High前提）。
 */
void led_a_lights_down(void)
{
    gpio_pin_set_dt(&led_a, LOW);
}
/**
 * @brief WiFi LED(B) を点灯する
 *
 * led_b を High にして点灯します（Active High前提）。
 */
void led_b_lights_up(void)
{
    gpio_pin_set_dt(&led_b, HIGT);
}
/**
 * @brief WiFi LED(B) を消灯する
 *
 * led_b を Low にして消灯します（Active High前提）。
 */
void led_b_lights_down(void)
{
    gpio_pin_set_dt(&led_b, LOW);
}

/**
 * @brief スロットUART通信の有効/無効と、UART切替スロット番号の設定
 *
 * MCP23S08 の 3本のSEL信号（SEL0/SEL1/SEL2）を設定して、
 * 0～7 のスロットを選択します。
 *
 * - slot: 0～7 で該当スロットを選択し UART を有効化します。
 * - slot: 0xFF の場合は UART を無効化します（全スロット切り離し）。
 *
 * 注意：
 * - slot_uart_enable は Active Low（0=有効、1=無効）という前提の実装です。
 *
 * @param slot スロット番号（0～7）、または 0xFF（UART無効）
 */
void set_enable_slot_uart(uint8_t slot)
{
    printk("set_enable_slot_uart: slot = %d\n", slot);
    if (slot == 0)
    {
        gpio_pin_set_dt(&slot_uart_enable, LOW); // UART通信有効
        gpio_pin_set(mcp08, MCP23S08_GP0, LOW);  // SEL0
        gpio_pin_set(mcp08, MCP23S08_GP1, LOW);  // SEL1
        gpio_pin_set(mcp08, MCP23S08_GP2, LOW);  // SEL2
    }
    else if (slot == 1)
    {
        gpio_pin_set_dt(&slot_uart_enable, LOW); // UART通信有効
        gpio_pin_set(mcp08, MCP23S08_GP0, HIGT); // SEL0
        gpio_pin_set(mcp08, MCP23S08_GP1, LOW);  // SEL1
        gpio_pin_set(mcp08, MCP23S08_GP2, LOW);  // SEL2
    }
    else if (slot == 2)
    {
        gpio_pin_set_dt(&slot_uart_enable, LOW); // UART通信有効
        gpio_pin_set(mcp08, MCP23S08_GP0, LOW);  // SEL0
        gpio_pin_set(mcp08, MCP23S08_GP1, HIGT); // SEL1
        gpio_pin_set(mcp08, MCP23S08_GP2, LOW);  // SEL2
    }
    else if (slot == 3)
    {
        gpio_pin_set_dt(&slot_uart_enable, LOW); // UART通信有効
        gpio_pin_set(mcp08, MCP23S08_GP0, HIGT); // SEL0
        gpio_pin_set(mcp08, MCP23S08_GP1, HIGT); // SEL1
        gpio_pin_set(mcp08, MCP23S08_GP2, LOW);  // SEL2
    }
    else if (slot == 4)
    {
        gpio_pin_set_dt(&slot_uart_enable, LOW); // UART通信有効
        gpio_pin_set(mcp08, MCP23S08_GP0, LOW);  // SEL0
        gpio_pin_set(mcp08, MCP23S08_GP1, LOW);  // SEL1
        gpio_pin_set(mcp08, MCP23S08_GP2, HIGT); // SEL2
    }
    else if (slot == 5)
    {
        gpio_pin_set_dt(&slot_uart_enable, LOW); // UART通信有効
        gpio_pin_set(mcp08, MCP23S08_GP0, HIGT); // SEL0
        gpio_pin_set(mcp08, MCP23S08_GP1, LOW);  // SEL1
        gpio_pin_set(mcp08, MCP23S08_GP2, HIGT); // SEL2
    }
    else if (slot == 6)
    {
        gpio_pin_set_dt(&slot_uart_enable, LOW); // UART通信有効
        gpio_pin_set(mcp08, MCP23S08_GP0, LOW);  // SEL0
        gpio_pin_set(mcp08, MCP23S08_GP1, HIGT); // SEL1
        gpio_pin_set(mcp08, MCP23S08_GP2, HIGT); // SEL2
    }
    else if (slot == 7)
    {
        gpio_pin_set_dt(&slot_uart_enable, LOW); // UART通信有効
        gpio_pin_set(mcp08, MCP23S08_GP0, HIGT); // SEL0
        gpio_pin_set(mcp08, MCP23S08_GP1, HIGT); // SEL1
        gpio_pin_set(mcp08, MCP23S08_GP2, HIGT); // SEL2
    }
    else if (slot == 0xff)
    {                                             // 全て無効
        gpio_pin_set_dt(&slot_uart_enable, HIGT); // UART通信無効
    }
}
```

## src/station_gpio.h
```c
#ifndef STATION_GPIO_H
#define STATION_GPIO_H


#include <zephyr/drivers/gpio.h>

void init_gpio();
void led_a_lights_up(void);
void led_a_lights_down(void);
void set_enable_slot_uart(uint8_t slot);
void mcp23s17_isr(const struct device *dev,
                  struct gpio_callback *cb,
                  uint32_t pins);

#endif /* STATION_GPIO_H */
```

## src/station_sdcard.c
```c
#include <string.h>
#include "station_sdcard.h"
#include <string.h>
#include "common.h"

extern sd_data_t sd_data;

void init_sd_card(void)
{
    snprintf(sd_data.wifi_ssid, sizeof(sd_data.wifi_ssid), "%s", "huihui");
    snprintf(sd_data.wifi_passwd, sizeof(sd_data.wifi_passwd), "%s", "61121288b9");
    snprintf(sd_data.mcm_iot_hostname, sizeof(sd_data.mcm_iot_hostname), "%s", "api.stg-newsedtech-iot.onmira.cloud");
    snprintf(sd_data.endpoint_url[0], sizeof(sd_data.endpoint_url[0]), "%s", "/temperatures"); //温度アップロード
    snprintf(sd_data.endpoint_url[1], sizeof(sd_data.endpoint_url[1]), "%s", "/impacts"); //衝撃ログアップロード
}
```

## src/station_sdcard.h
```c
#ifndef STATION_SDCARD_H
#define STATION_SDCARD_H

void init_sd_card(void);
#endif /* STATION_SDCARD_H */
```

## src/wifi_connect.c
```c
#include <zephyr/net/net_if.h>
#include <zephyr/net/wifi_mgmt.h>
#include <zephyr/net/net_event.h>
#include <zephyr/drivers/gpio.h>
#include <net/wifi_ready.h>
#include "wifi_connect.h"
#include "common.h"
#include "station_gpio.h"
#include "https_api.h"
#include <zephyr/logging/log.h>
LOG_MODULE_REGISTER(wifi_connect, LOG_LEVEL_INF);

#define WIFI_SHELL_MGMT_EVENTS (NET_EVENT_WIFI_CONNECT_RESULT | \
                                NET_EVENT_WIFI_DISCONNECT_RESULT)

#define STATUS_POLLING_MS 300

static struct net_mgmt_event_callback wifi_shell_mgmt_cb;
static struct net_mgmt_event_callback net_shell_mgmt_cb;

#ifdef CONFIG_WIFI_READY_LIB
static K_SEM_DEFINE(wifi_ready_state_changed_sem, 0, 1);
static bool wifi_ready_status;
#endif /* CONFIG_WIFI_READY_LIB */

static int register_wifi_ready(void);
static int cmd_wifi_status(void);
static void handle_wifi_connect_result(struct net_mgmt_event_callback *cb);
static void handle_wifi_disconnect_result(struct net_mgmt_event_callback *cb);
static void wifi_mgmt_event_handler(struct net_mgmt_event_callback *cb,
                                    uint64_t mgmt_event, struct net_if *iface);
static int wifi_connect(void);
void wifi_ready_cb(bool wifi_ready);
#define CONFIG_STA_SAMPLE_START_WIFI_THREAD_STACK_SIZE 5200
#ifdef CONFIG_WIFI_READY_LIB
void start_wifi_thread(void);
#define THREAD_PRIORITY K_PRIO_COOP(CONFIG_NUM_COOP_PRIORITIES - 1)
K_THREAD_DEFINE(start_wifi_thread_id, CONFIG_STA_SAMPLE_START_WIFI_THREAD_STACK_SIZE,
                start_wifi_thread, NULL, NULL, NULL,
                THREAD_PRIORITY, 0, -1);
static struct
{
    const struct shell *sh;
    union
    {
        struct
        {
            uint8_t connected : 1;
            uint8_t connect_result : 1;
            uint8_t disconnect_requested : 1;
            uint8_t _unused : 5;
        };
        uint8_t all;
    };
} context;

extern sd_data_t sd_data;

/* Wi-Fi 機能全体の初期化を行う。
 * ネットワーク管理コールバックを登録し、
 * Wi-Fi Ready ライブラリ有効時は待機スレッドを起動する。
 */
int init_wifi(void)
{
    int ret = 0;
    net_mgmt_callback_init();

#ifdef CONFIG_WIFI_READY_LIB
    ret = register_wifi_ready();
    if (ret)
    {
        return ret;
    }
    k_thread_start(start_wifi_thread_id);
#else
    start_app();
#endif /* CONFIG_WIFI_READY_LIB */
    return 0;
}

/* 現在の Wi-Fi 接続状態を取得し、
 * SSID・RSSI・セキュリティ情報などをログ出力する。
 */
static int cmd_wifi_status(void)
{
    struct net_if *iface = net_if_get_default();
    struct wifi_iface_status status = {0};

    if (net_mgmt(NET_REQUEST_WIFI_IFACE_STATUS, iface, &status,
                 sizeof(struct wifi_iface_status)))
    {
        LOG_INF("Status request failed");

        return -ENOEXEC;
    }

    LOG_INF("==================");
    LOG_INF("State: %s", wifi_state_txt(status.state));

    if (status.state >= WIFI_STATE_ASSOCIATED)
    {

        LOG_INF("Interface Mode: %s",
                wifi_mode_txt(status.iface_mode));
        LOG_INF("Link Mode: %s",
                wifi_link_mode_txt(status.link_mode));
        LOG_INF("SSID: %.32s", status.ssid);

        LOG_INF("Band: %s", wifi_band_txt(status.band));
        LOG_INF("Channel: %d", status.channel);
        LOG_INF("Security: %s", wifi_security_txt(status.security));
        LOG_INF("MFP: %s", wifi_mfp_txt(status.mfp));
        LOG_INF("RSSI: %d", status.rssi);
    }
    return 0;
}
/* Wi-Fi 接続結果イベントを処理する。
 * 接続成功・失敗を判定し、LED や内部状態を更新する。
 */
static void handle_wifi_connect_result(struct net_mgmt_event_callback *cb)
{
    const struct wifi_status *status =
        (const struct wifi_status *)cb->info;

    if (context.connected)
    {
        return;
    }

    if (status->status)
    {
        LOG_ERR("Connection failed (%d)", status->status);
        led_a_lights_down();
    }
    else
    {
        LOG_INF("Connected");
        context.connected = true;
        led_a_lights_up();
    }

    context.connect_result = true;
}

/* Wi-Fi 切断イベントを処理する。
 * 意図的切断か予期しない切断かを判定し、状態を更新する。
 */
static void handle_wifi_disconnect_result(struct net_mgmt_event_callback *cb)
{
    const struct wifi_status *status =
        (const struct wifi_status *)cb->info;

    if (!context.connected)
    {
        return;
    }

    if (context.disconnect_requested)
    {
        LOG_INF("Disconnection request %s (%d)",
                status->status ? "failed" : "done",
                status->status);
        context.disconnect_requested = false;
    }
    else
    {
        LOG_INF("Received Disconnected");
        context.connected = false;
    }

    cmd_wifi_status();
}

/* Wi-Fi 関連のネットワーク管理イベントを振り分ける
 * ディスパッチャ関数。
 */
static void wifi_mgmt_event_handler(struct net_mgmt_event_callback *cb,
                                    uint64_t mgmt_event, struct net_if *iface)
{
    switch (mgmt_event)
    {
    case NET_EVENT_WIFI_CONNECT_RESULT:
        handle_wifi_connect_result(cb);
        break;
    case NET_EVENT_WIFI_DISCONNECT_RESULT:
        handle_wifi_disconnect_result(cb);
        break;
    default:
        break;
    }
}

static struct k_work https_work;

static void https_work_handler(struct k_work *work)
{
    get_access_token();//トークン取得
    https_post_json();
}

/* DHCP により IP アドレスが割り当てられた際の処理。
 * 割り当てられた IP を表示し、HTTPS 通信を開始する。
 */
static void print_dhcp_ip(struct net_mgmt_event_callback *cb)
{
    /* Get DHCP info from struct net_if_dhcpv4 and print */
    const struct net_if_dhcpv4 *dhcpv4 = cb->info;
    const struct in_addr *addr = &dhcpv4->requested_ip;
    char dhcp_info[128];

    net_addr_ntop(AF_INET, addr, dhcp_info, sizeof(dhcp_info));

    LOG_INF("DHCP IP address: %s", dhcp_info);

    /* ★ ここでは直接呼ばず、workに投げる */
    k_work_submit(&https_work);

    
}

/* IPv4 DHCP などネットワーク層のイベントを処理する
 * 管理イベントハンドラ。
 */
static void net_mgmt_event_handler(struct net_mgmt_event_callback *cb,
                                   uint64_t mgmt_event, struct net_if *iface)
{
    switch (mgmt_event)
    {
    case NET_EVENT_IPV4_DHCP_BOUND:
        print_dhcp_ip(cb);
        break;
    default:
        break;
    }
}

static struct wifi_connect_req_params wifi_params;

/* 設定された SSID / パスワードを使用して
 * Wi-Fi アクセスポイントへの接続を要求する。
 */
static int wifi_connect(void)
{
    LOG_INF("wifi_connect...................");
    struct net_if *iface = net_if_get_first_wifi();

    context.connected = false;
    context.connect_result = false;
    /* Initialize WiFi connection parameters completely */
    memset(&wifi_params, 0, sizeof(wifi_params));

    wifi_params.ssid = (uint8_t *)sd_data.wifi_ssid;
    wifi_params.ssid_length = strlen(sd_data.wifi_ssid);
    wifi_params.psk = (uint8_t *)sd_data.wifi_passwd;
    wifi_params.psk_length = strlen(sd_data.wifi_passwd);
    wifi_params.security = WIFI_SECURITY_TYPE_PSK; /* WPA2-PSK security */
    wifi_params.sae_password = NULL;
    wifi_params.sae_password_length = 0;
    wifi_params.channel = WIFI_CHANNEL_ANY;
    wifi_params.band = WIFI_FREQ_BAND_2_4_GHZ; /* Explicit 2.4GHz for Mimas2 */
    wifi_params.mfp = WIFI_MFP_DISABLE;        /* Disable MFP for compatibility */
    wifi_params.timeout = SYS_FOREVER_MS;      /* Let the driver handle timeouts */

    if (net_mgmt(NET_REQUEST_WIFI_CONNECT, iface, &wifi_params, sizeof(wifi_params)))
    {
        LOG_ERR("Connection request failed");

        return -ENOEXEC;
    }

    LOG_INF("Connection requested");

    return 0;
}

/* Wi-Fi 接続制御のメイン処理。
 * Wi-Fi Ready 状態を監視しながら AP へ接続し、
 * 接続完了後は状態監視を継続する。
 */
int start_app(void)
{

    while (1)
    {
#ifdef CONFIG_WIFI_READY_LIB
        int ret;

        LOG_INF("Waiting for Wi-Fi to be ready");
        ret = k_sem_take(&wifi_ready_state_changed_sem, K_FOREVER);
        if (ret)
        {
            LOG_ERR("Failed to take semaphore: %d", ret);
            return ret;
        }

    check_wifi_ready:
        if (!wifi_ready_status)
        {
            LOG_INF("Wi-Fi is not ready");
            /* Perform any cleanup and stop using Wi-Fi and wait for
             * Wi-Fi to be ready
             */
            continue;
        }
#endif /* CONFIG_WIFI_READY_LIB */
        wifi_connect();

        while (!context.connect_result)
        {
            cmd_wifi_status();
            k_sleep(K_MSEC(STATUS_POLLING_MS));
        }

        if (context.connected)
        {
            cmd_wifi_status();
#ifdef CONFIG_WIFI_READY_LIB
            ret = k_sem_take(&wifi_ready_state_changed_sem, K_FOREVER);
            if (ret)
            {
                LOG_ERR("Failed to take semaphore: %d", ret);
                return ret;
            }
            goto check_wifi_ready;
#else
            k_sleep(K_FOREVER);
#endif /* CONFIG_WIFI_READY_LIB */
        }
    }

    return 0;
}

/* Wi-Fi 制御用スレッドのエントリポイント。
 * start_app() をスレッドコンテキストで実行する。
 */
void start_wifi_thread(void)
{
    start_app();
}

/* Wi-Fi Ready 状態変更時に呼ばれるコールバック。
 * Ready / Not Ready を記録し、待機中の処理を解除する。
 */
void wifi_ready_cb(bool wifi_ready)
{
    LOG_DBG("Is Wi-Fi ready?: %s", wifi_ready ? "yes" : "no");
    wifi_ready_status = wifi_ready;
    k_sem_give(&wifi_ready_state_changed_sem);
}
#endif /* CONFIG_WIFI_READY_LIB */

/* ネットワーク管理イベント（Wi-Fi / DHCP）の
 * コールバック初期化および登録を行う。
 */
void net_mgmt_callback_init(void)
{
    memset(&context, 0, sizeof(context));

    net_mgmt_init_event_callback(&wifi_shell_mgmt_cb,
                                 wifi_mgmt_event_handler,
                                 WIFI_SHELL_MGMT_EVENTS);

    net_mgmt_add_event_callback(&wifi_shell_mgmt_cb);

    net_mgmt_init_event_callback(&net_shell_mgmt_cb,
                                 net_mgmt_event_handler,
                                 NET_EVENT_IPV4_DHCP_BOUND);

    net_mgmt_add_event_callback(&net_shell_mgmt_cb);

    k_work_init(&https_work, https_work_handler);

    LOG_INF("Starting %s with CPU frequency: %d MHz", CONFIG_BOARD, SystemCoreClock / MHZ(1));
    k_sleep(K_SECONDS(1));
}

#ifdef CONFIG_WIFI_READY_LIB

/* Wi-Fi Ready ライブラリへコールバックを登録する。
 * Wi-Fi デバイスの利用可能状態変化を検知するために使用。
 */
static int register_wifi_ready(void)
{
    int ret = 0;
    wifi_ready_callback_t cb;
    struct net_if *iface = net_if_get_first_wifi();

    if (!iface)
    {
        LOG_ERR("Failed to get Wi-Fi interface");
        return -1;
    }

    cb.wifi_ready_cb = wifi_ready_cb;

    LOG_DBG("Registering Wi-Fi ready callbacks");
    ret = register_wifi_ready_callback(cb, iface);
    if (ret)
    {
        LOG_ERR("Failed to register Wi-Fi ready callbacks %s", strerror(ret));
        return ret;
    }

    return ret;
}
#endif /* CONFIG_WIFI_READY_LIB */
```

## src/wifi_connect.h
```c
#ifndef WIFI_CONNECT_H
#define WIFI_CONNECT_H

#include <zephyr/net/net_if.h>
int init_wifi(void);
void net_mgmt_callback_init(void);
#endif /* WIFI_CONNECT_H */
```
